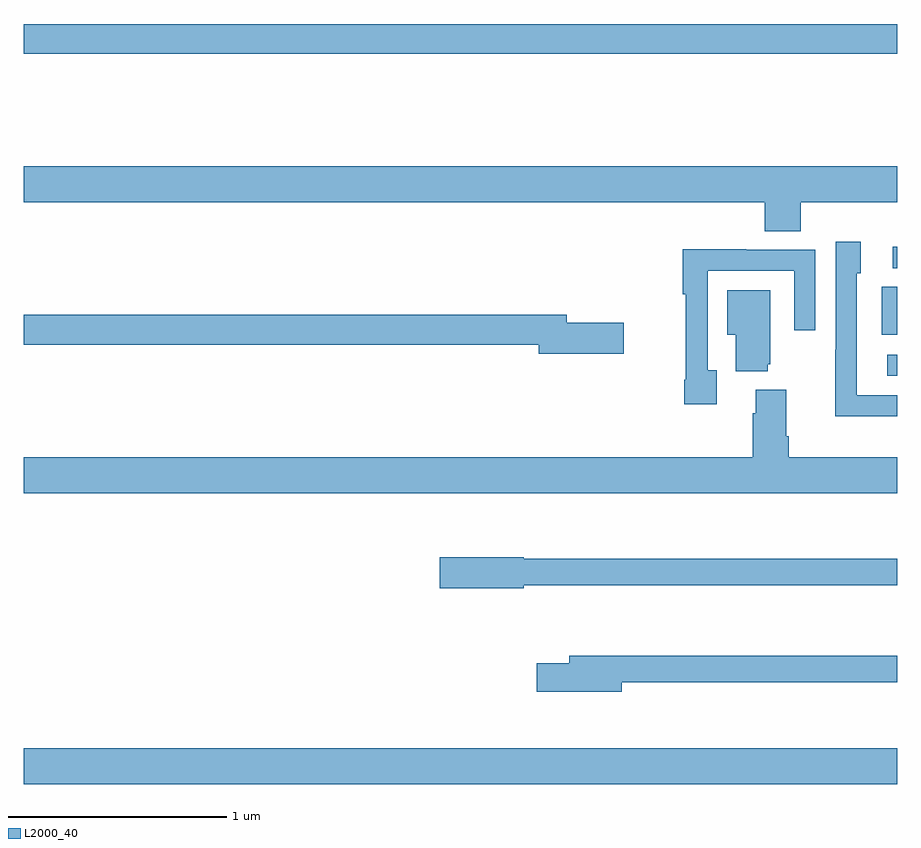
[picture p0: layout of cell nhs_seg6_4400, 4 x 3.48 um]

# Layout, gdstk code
import gdstk
lib = gdstk.Library(unit=1e-6, precision=1e-09)
def R(c, l, rs):  # rectangles x0, y0, x1, y1
    for r in rs: c.add(gdstk.rectangle(r[:2], r[2:], *l))
def P(c, l, *ps):  # polygons
    for p in ps: c.add(gdstk.Polygon(p, *l))
L2000_40 = (2000, 40)

nhs_seg6_4400 = lib.new_cell('nhs_seg6_4400')
R(nhs_seg6_4400, L2000_40, [(371,934.016,375,934.18), (374.955,935.886,375,935.982), (374.93,936.074,375,936.293), (374.979,936.378,375,936.476), (371,937.36,375,937.496)])
P(nhs_seg6_4400, L2000_40, [(374.558,936.68),(375,936.68),(375,936.844),(371,936.844),(371,936.68),(374.393,936.68),(374.393,936.547),(374.558,936.547)],
  [(375,935.796),(374.814,935.796),(374.814,936.354),(374.833,936.354),(374.833,936.499),(374.718,936.499),(374.718,936.005),(374.716,936.005),(374.716,935.699),(375,935.699)],
  [(374.173,935.91),(374.133,935.91),(374.133,936.366),(374.529,936.366),(374.529,936.093),(374.625,936.093),(374.625,936.462),(374.309,936.462),(374.309,936.464),(374.017,936.464),(374.017,936.259),(374.032,936.259),(374.032,935.866),(374.025,935.866),(374.025,935.754),(374.173,935.754)],
  [(374.408,935.937),(374.419,935.937),(374.419,936.277),(374.222,936.277),(374.222,936.074),(374.261,936.074),(374.261,935.906),(374.408,935.906)],
  [(373.747,936.128),(373.486,936.128),(373.486,936.164),(371,936.164),(371,936.028),(373.358,936.028),(373.358,935.986),(373.747,935.986)],
  [(375,935.512),(374.504,935.512),(374.504,935.608),(374.491,935.608),(374.491,935.821),(374.351,935.821),(374.351,935.714),(374.339,935.714),(374.339,935.512),(371,935.512),(371,935.348),(375,935.348)],
  [(373.29,934.926),(375,934.926),(375,935.047),(373.29,935.047),(373.29,935.055),(372.906,935.055),(372.906,934.913),(373.29,934.913)],
  [(373.738,934.482),(375,934.482),(375,934.603),(373.499,934.603),(373.499,934.569),(373.35,934.569),(373.35,934.439),(373.738,934.439)])

lib.write_gds('nhs_seg6_4400.gds')
